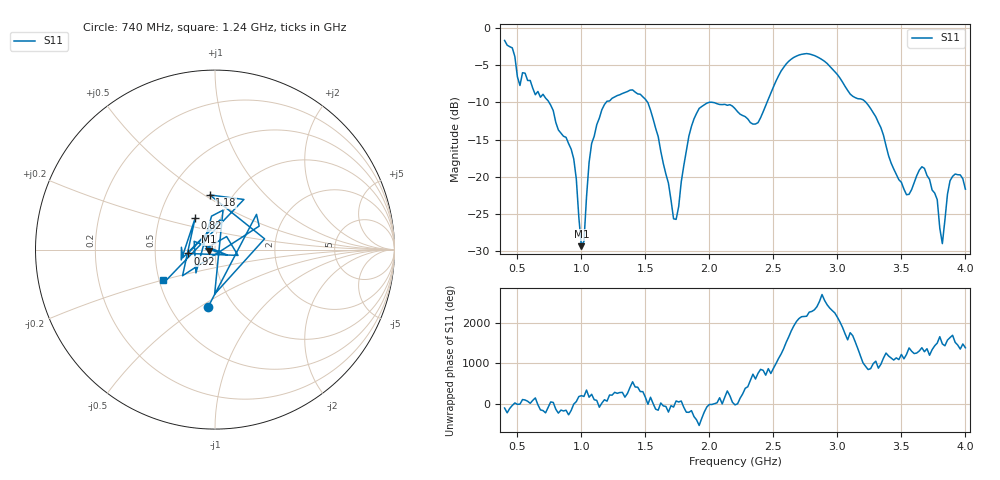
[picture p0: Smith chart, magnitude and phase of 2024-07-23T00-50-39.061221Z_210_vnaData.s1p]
!Created with skrf (http://scikit-rf.org).
# Hz S RI R 50.0
!freq ReS11 ImS11
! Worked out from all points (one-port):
!   181 points, 400 MHz to 4 GHz, reference 50 ohm
!   lowest |S11| = -29.3 dB at 1 GHz (marker M1), VSWR 1.07, Z = 46.8 - j0.926 ohm
!   |S11| at or under -10 dB: 747.6 MHz to 1.193 GHz (445.1 MHz wide, 45.9 % of centre); 1.518 GHz to 1.996 GHz (477.7 MHz wide, 27.2 % of centre); 3.224 GHz to end of sweep (the widest 3 of 4)
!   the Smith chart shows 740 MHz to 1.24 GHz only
!   S11 on the Smith chart (normalised r, x): 740 MHz: 0.76, -0.54; 820 MHz: 0.76, +0.28; 920 MHz: 0.74, -0.03; 1.18 GHz: 0.79, +0.53; 1.24 GHz: 0.52, -0.20
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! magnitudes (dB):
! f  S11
! 400 MHz  -1.7
! 520 MHz  -7.7
! 740 MHz  -9.8
! 820 MHz  -13.7
! 860 MHz  -14.5
! 920 MHz  -16.3
! 1 GHz  -29.3
! 1.02 GHz  -28.6
! 1.08 GHz  -15.5
! 1.18 GHz  -10.3
! 1.24 GHz  -9.4
! 1.3 GHz  -9.0
! 1.52 GHz  -10.0
! 1.72 GHz  -25.6
! 1.76 GHz  -24.0
! 1.84 GHz  -14.5
! 1.92 GHz  -10.8
! 2.2 GHz  -10.8
! 2.38 GHz  -12.7
! 2.66 GHz  -3.9
! 3.1 GHz  -8.9
! 3.3 GHz  -11.9
! 3.56 GHz  -22.3
! 3.68 GHz  -18.9
! 3.78 GHz  -23.1
! 3.82 GHz  -29.0
! 3.88 GHz  -20.5
! 4 GHz  -21.6
